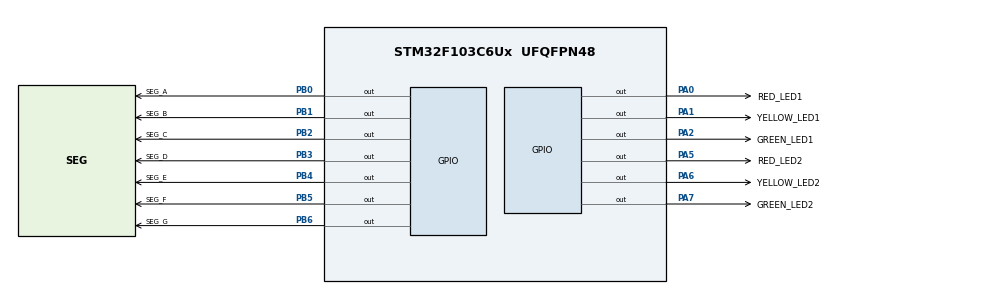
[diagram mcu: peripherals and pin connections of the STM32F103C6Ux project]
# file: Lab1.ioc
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Mcu.Family=STM32F1
Mcu.Name=STM32F103C6Ux
Mcu.Package=UFQFPN48
NVIC.PriorityGroup=NVIC_PRIORITYGROUP_4
PA0-WKUP.GPIO_Label=RED_LED1
PA0-WKUP.Signal=GPIO_Output
PA1.GPIO_Label=YELLOW_LED1
PA1.Signal=GPIO_Output
PA2.GPIO_Label=GREEN_LED1
PA2.Signal=GPIO_Output
PA5.GPIO_Label=RED_LED2
PA5.Signal=GPIO_Output
PA6.GPIO_Label=YELLOW_LED2
PA6.Signal=GPIO_Output
PA7.GPIO_Label=GREEN_LED2
PA7.Signal=GPIO_Output
PB0.GPIO_Label=SEG_A
PB0.Signal=GPIO_Output
PB1.GPIO_Label=SEG_B
PB1.Signal=GPIO_Output
PB2.GPIO_Label=SEG_C
PB2.Signal=GPIO_Output
PB3.GPIO_Label=SEG_D
PB3.Signal=GPIO_Output
PB4.GPIO_Label=SEG_E
PB4.Signal=GPIO_Output
PB5.GPIO_Label=SEG_F
PB5.Signal=GPIO_Output
PB6.GPIO_Label=SEG_G
PB6.Signal=GPIO_Output
ProjectManager.HeapSize=0x200
ProjectManager.StackSize=0x400
ProjectManager.TargetToolchain=STM32CubeIDE
RCC.APB1Freq_Value=8000000
RCC.APB2Freq_Value=8000000
VP_SYS_VS_ND.Mode=No_Debug
board=custom

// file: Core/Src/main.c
/* USER CODE BEGIN Header */
/**
  ******************************************************************************
  * @file           : main.c
  * @brief          : Main program body
  ******************************************************************************
  * @attention
  *
  * <h2><center>&copy; Copyright (c) 2026 STMicroelectronics.
  * All rights reserved.</center></h2>
  *
  * This software component is licensed by ST under BSD 3-Clause license,
  * the "License"; You may not use this file except in compliance with the
  * License. You may obtain a copy of the License at:
  *                        opensource.org/licenses/BSD-3-Clause
  *
  ******************************************************************************
  */
/* USER CODE END Header */
#include "main.h"

void SystemClock_Config(void);
static void MX_GPIO_Init(void);

/* USER CODE BEGIN 0 */
void display7SEG(int num){
	uint8_t seg7[10] = {0xC0, 0xF9, 0xA4, 0xB0, 0x99, 0x92, 0x82, 0xF8, 0x80, 0x90};

	if (num < 0 || num > 9){
		return;
	}

	for (int i = 0; i < 7; ++i){
		if ((seg7[num] >> i) & 0x01){
			HAL_GPIO_WritePin(GPIOB, GPIO_PIN_0 << i, GPIO_PIN_SET);
		} else {
			HAL_GPIO_WritePin(GPIOB, GPIO_PIN_0 << i, GPIO_PIN_RESET);
		}
	}
}
/* USER CODE END 0 */

int main(void)
{

  /* MCU Configuration--------------------------------------------------------*/

  /* Reset of all peripherals, Initializes the Flash interface and the Systick. */
  HAL_Init();

  /* Configure the system clock */
  SystemClock_Config();

  /* Initialize all configured peripherals */
  MX_GPIO_Init();
  /* USER CODE BEGIN 2 */
  HAL_GPIO_WritePin(GPIOA, RED_LED1_Pin | RED_LED2_Pin | YELLOW_LED1_Pin | YELLOW_LED2_Pin | GREEN_LED1_Pin | GREEN_LED2_Pin, GPIO_PIN_SET);
  /* USER CODE END 2 */

  /* Infinite loop */
  /* USER CODE BEGIN WHILE */
  int count = 10;
  while (1)
  {
	  if (count <= 0){
		  count = 10;
	  }

	  int led_count = 0;

	  if (count > 7){
		  HAL_GPIO_WritePin(GPIOA, RED_LED1_Pin | GREEN_LED2_Pin, GPIO_PIN_RESET);
		  HAL_GPIO_WritePin(GPIOA, RED_LED2_Pin | YELLOW_LED1_Pin | YELLOW_LED2_Pin | GREEN_LED1_Pin, GPIO_PIN_SET);
		  led_count = count - 5;
	  } else if (count > 5){
		  HAL_GPIO_WritePin(GPIOA, RED_LED1_Pin | YELLOW_LED2_Pin, GPIO_PIN_RESET);
		  HAL_GPIO_WritePin(GPIOA, RED_LED2_Pin | YELLOW_LED1_Pin | GREEN_LED1_Pin | GREEN_LED2_Pin, GPIO_PIN_SET);
		  led_count = count - 5;
	  } else if (count > 2){
		  HAL_GPIO_WritePin(GPIOA, RED_LED2_Pin | GREEN_LED1_Pin, GPIO_PIN_RESET);
		  HAL_GPIO_WritePin(GPIOA, RED_LED1_Pin | YELLOW_LED1_Pin | GREEN_LED2_Pin | YELLOW_LED2_Pin, GPIO_PIN_SET);
		  led_count = count - 2;
	  } else {
		  HAL_GPIO_WritePin(GPIOA, RED_LED2_Pin | YELLOW_LED1_Pin, GPIO_PIN_RESET);
		  HAL_GPIO_WritePin(GPIOA, RED_LED1_Pin | GREEN_LED1_Pin | GREEN_LED2_Pin | YELLOW_LED2_Pin, GPIO_PIN_SET);
		  led_count = count;
	  }

	  display7SEG(led_count);

	  count--;

	  HAL_Delay(1000);
    /* USER CODE END WHILE */

  }
}

void SystemClock_Config(void)
{
  RCC_OscInitTypeDef RCC_OscInitStruct = {0};
  RCC_ClkInitTypeDef RCC_ClkInitStruct = {0};

  /** Initializes the RCC Oscillators according to the specified parameters
  * in the RCC_OscInitTypeDef structure.
  */
  RCC_OscInitStruct.OscillatorType = RCC_OSCILLATORTYPE_HSI;
  RCC_OscInitStruct.HSIState = RCC_HSI_ON;
  RCC_OscInitStruct.HSICalibrationValue = RCC_HSICALIBRATION_DEFAULT;
  RCC_OscInitStruct.PLL.PLLState = RCC_PLL_NONE;
  if (HAL_RCC_OscConfig(&RCC_OscInitStruct) != HAL_OK)
  {
    Error_Handler();
  }
  /** Initializes the CPU, AHB and APB buses clocks
  */
  RCC_ClkInitStruct.ClockType = RCC_CLOCKTYPE_HCLK|RCC_CLOCKTYPE_SYSCLK
                              |RCC_CLOCKTYPE_PCLK1|RCC_CLOCKTYPE_PCLK2;
  RCC_ClkInitStruct.SYSCLKSource = RCC_SYSCLKSOURCE_HSI;
  RCC_ClkInitStruct.AHBCLKDivider = RCC_SYSCLK_DIV1;
  RCC_ClkInitStruct.APB1CLKDivider = RCC_HCLK_DIV1;
  RCC_ClkInitStruct.APB2CLKDivider = RCC_HCLK_DIV1;

  if (HAL_RCC_ClockConfig(&RCC_ClkInitStruct, FLASH_LATENCY_0) != HAL_OK)
  {
    Error_Handler();
  }
}

static void MX_GPIO_Init(void)
{
  GPIO_InitTypeDef GPIO_InitStruct = {0};

  /* GPIO Ports Clock Enable */
  __HAL_RCC_GPIOA_CLK_ENABLE();
  __HAL_RCC_GPIOB_CLK_ENABLE();

  /*Configure GPIO pin Output Level */
  HAL_GPIO_WritePin(GPIOA, RED_LED1_Pin|YELLOW_LED1_Pin|GREEN_LED1_Pin|RED_LED2_Pin
                          |YELLOW_LED2_Pin|GREEN_LED2_Pin, GPIO_PIN_RESET);

  /*Configure GPIO pin Output Level */
  HAL_GPIO_WritePin(GPIOB, SEG_A_Pin|SEG_B_Pin|SEG_C_Pin|SEG_D_Pin
                          |SEG_E_Pin|SEG_F_Pin|SEG_G_Pin, GPIO_PIN_RESET);

  /*Configure GPIO pins : RED_LED1_Pin YELLOW_LED1_Pin GREEN_LED1_Pin RED_LED2_Pin
                           YELLOW_LED2_Pin GREEN_LED2_Pin */
  GPIO_InitStruct.Pin = RED_LED1_Pin|YELLOW_LED1_Pin|GREEN_LED1_Pin|RED_LED2_Pin
                          |YELLOW_LED2_Pin|GREEN_LED2_Pin;
  GPIO_InitStruct.Mode = GPIO_MODE_OUTPUT_PP;
  GPIO_InitStruct.Pull = GPIO_NOPULL;
  GPIO_InitStruct.Speed = GPIO_SPEED_FREQ_LOW;
  HAL_GPIO_Init(GPIOA, &GPIO_InitStruct);

  /*Configure GPIO pins : SEG_A_Pin SEG_B_Pin SEG_C_Pin SEG_D_Pin
                           SEG_E_Pin SEG_F_Pin SEG_G_Pin */
  GPIO_InitStruct.Pin = SEG_A_Pin|SEG_B_Pin|SEG_C_Pin|SEG_D_Pin
                          |SEG_E_Pin|SEG_F_Pin|SEG_G_Pin;
  GPIO_InitStruct.Mode = GPIO_MODE_OUTPUT_PP;
  GPIO_InitStruct.Pull = GPIO_NOPULL;
  GPIO_InitStruct.Speed = GPIO_SPEED_FREQ_LOW;
  HAL_GPIO_Init(GPIOB, &GPIO_InitStruct);

}

void Error_Handler(void)
{
  __disable_irq();
  while (1)
  {
  }
}

/************************ (C) COPYRIGHT STMicroelectronics *****END OF FILE****/
